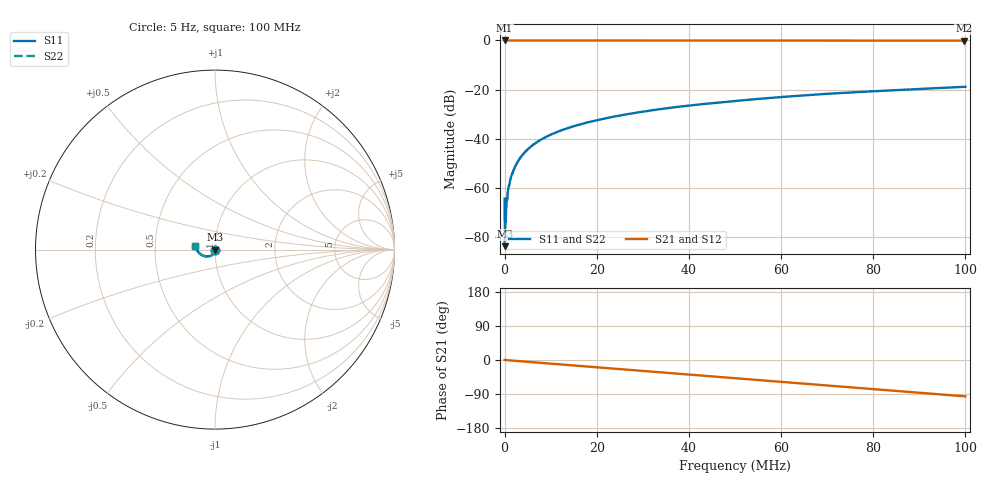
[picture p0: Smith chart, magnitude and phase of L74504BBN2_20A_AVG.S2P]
!Agilent Technologies,E5061B,MY49102235,A.02.00
!Date: Mon Jul 10 17:14:10 2023
!Data & Calibration Information:
!Freq	S11:SOLT2(ON)	S21:SOLT2(ON)	S12:SOLT2(ON)	S22:SOLT2(ON)
# Hz S RI R 50
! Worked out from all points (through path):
!   1600 points, 5 Hz to 100 MHz, reference 50 ohm
!   highest |S21| = 0.02 dB at 5 Hz (marker M1); lowest = -0.1 dB at 99.62 MHz (marker M2)
!   group delay of S21, straight-line fit = 2.67 ns
!   lowest |S11| = -83.9 dB at 62.54 kHz (marker M3), VSWR 1.00, Z = 50 - j0.00189 ohm
!   |S11| at or under -10 dB: start of sweep to end of sweep
!   |S22| runs from -77.6 to -18.8 dB; largest |S21 - S12| = 0.0027
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5  -0.0004 0.000442  1.002 0.00231  1.001 -3.38e-05  -0.000151 -6.72e-05
62544.08  -6.11e-05 -1.89e-05  1 -0.000927  1 -0.000704  1.16e-05 -0.000131
250161.3  4.4e-05 -0.000197  0.9998 -0.00439  0.9997 -0.00428  3.59e-05 -0.000224
562856.8  0.000143 -0.000554  0.9996 -0.00965  0.9996 -0.00922  7.45e-05 -0.000604
687934.9  -2.51e-06 -0.000807  1 -0.0114  1 -0.0116  1.3e-05 -0.000728
875552.2  -7.68e-05 -0.00104  0.9999 -0.0149  0.9999 -0.0147  -7.16e-05 -0.00104
1063169  -8.3e-05 -0.0012  1 -0.0178  1 -0.0179  -4.55e-05 -0.00126
1313326  -6.85e-05 -0.0015  0.9999 -0.0215  0.9991 -0.0219  -9.53e-05 -0.00157
1876178  -0.000101 -0.00222  0.9998 -0.0318  0.9995 -0.0312  -6.34e-05 -0.00222
2376490  -8.43e-05 -0.00283  0.9998 -0.0402  0.9991 -0.0398  -8.19e-05 -0.00282
3877428  -0.00019 -0.00461  0.9979 -0.0652  0.9977 -0.0648  -0.000304 -0.00465
6003757  -0.000627 -0.00724  0.9948 -0.1008  0.9948 -0.1003  -0.000727 -0.00721
8818016  -0.00146 -0.0105  0.9889 -0.1475  0.9889 -0.1472  -0.0015 -0.0104
1.250782e7  -0.00302 -0.0146  0.9777 -0.2083  0.9777 -0.2082  -0.00297 -0.0145
1.669794e7  -0.00548 -0.0191  0.9607 -0.2763  0.9607 -0.2762  -0.00529 -0.0191
2.414009e7  -0.0115 -0.0261  0.9185 -0.3937  0.9185 -0.3935  -0.0112 -0.0264
3.333334e7  -0.0216 -0.0329  0.8469 -0.53  0.8469 -0.5297  -0.0211 -0.0336
5.003127e7  -0.0447 -0.0377  0.6669 -0.7426  0.6669 -0.7427  -0.0448 -0.0385
6.672921e7  -0.0716 -0.0311  0.4354 -0.8966  0.4352 -0.8962  -0.0718 -0.0317
8.33646e7  -0.0948 -0.0115  0.1712 -0.98  0.171 -0.9798  -0.0952 -0.0122
9.962477e7  -0.1116 0.0194  -0.0976 -0.9882  -0.0979 -0.9879  -0.1123 0.0181
1e8  -0.1119 0.0201  -0.1038 -0.9877  -0.104 -0.9872  -0.1127 0.0188
